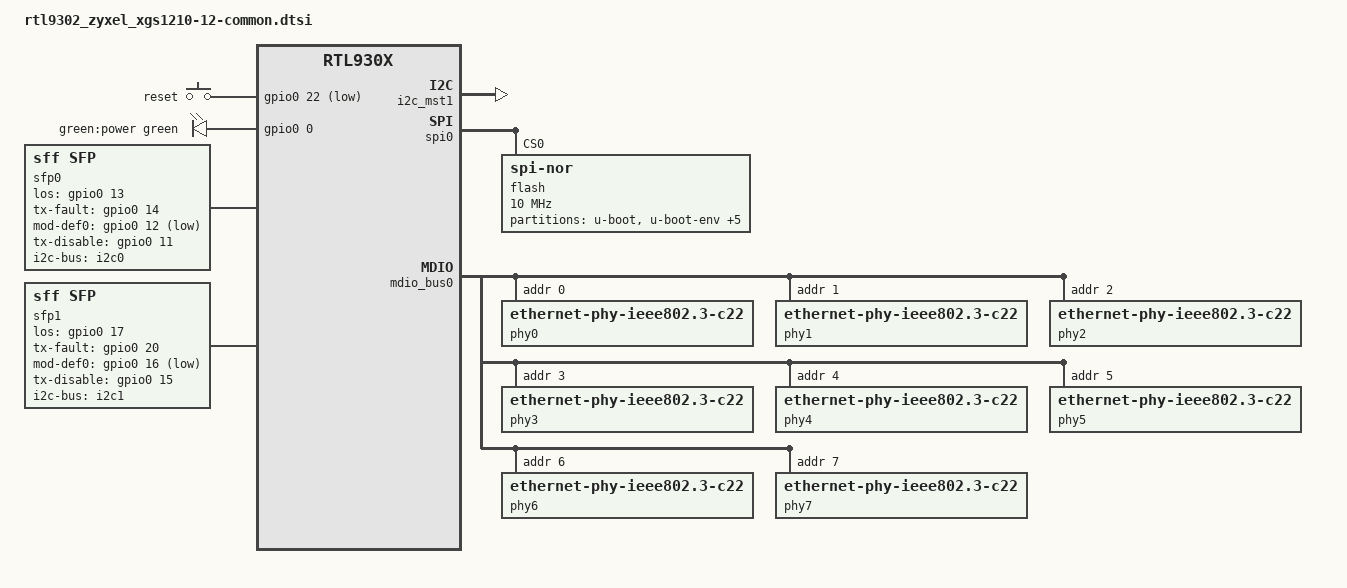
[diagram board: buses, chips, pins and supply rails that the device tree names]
// SPDX-License-Identifier: GPL-2.0-or-later
/dts-v1/;

#include "rtl930x.dtsi"

#include <dt-bindings/input/input.h>
#include <dt-bindings/gpio/gpio.h>
#include <dt-bindings/leds/common.h>
#include <dt-bindings/thermal/thermal.h>

/ {
	aliases {
		led-boot = &led_pwr_sys;
		led-failsafe = &led_pwr_sys;
		led-running = &led_pwr_sys;
		led-upgrade = &led_pwr_sys;
	};

	keys {
		compatible = "gpio-keys";

		mode {
			label = "reset";
			gpios = <&gpio0 22 GPIO_ACTIVE_LOW>;
			linux,code = <KEY_RESTART>;
		};
	};

	leds {
		compatible = "gpio-leds";

		pinctrl-names = "default";
		pinctrl-0 = <&pinmux_disable_sys_led>;

		led_pwr_sys: led-0 {
			label = "green:power";
			color = <LED_COLOR_ID_GREEN>;
			function = LED_FUNCTION_POWER;
			gpios = <&gpio0 0 GPIO_ACTIVE_HIGH>;
		};
	};

	sfp0: sfp-p11 {
		compatible = "sff,sfp";
		i2c-bus = <&i2c0>;
		los-gpio = <&gpio0 13 GPIO_ACTIVE_HIGH>;
		tx-fault-gpio = <&gpio0 14 GPIO_ACTIVE_HIGH>;
		mod-def0-gpio = <&gpio0 12 GPIO_ACTIVE_LOW>;
		tx-disable-gpio = <&gpio0 11 GPIO_ACTIVE_HIGH>;
	};

	sfp1: sfp-p12 {
		compatible = "sff,sfp";
		i2c-bus = <&i2c1>;
		los-gpio = <&gpio0 17 GPIO_ACTIVE_HIGH>;
		tx-fault-gpio = <&gpio0 20 GPIO_ACTIVE_HIGH>;
		mod-def0-gpio = <&gpio0 16 GPIO_ACTIVE_LOW>;
		tx-disable-gpio = <&gpio0 15 GPIO_ACTIVE_HIGH>;
	};

	led_set: led_set {
		compatible = "realtek,rtl9300-leds";
		active-low;

		// LED set 0:
		// Amber: 100M/10M
		// Yellow: 1G
		led_set0 = <0x0a20 0x0b80>;

		// LED set 1:
		// Blue: 2.5G
		// Green: 2.5G
		// Yellow: 1G
		// Amber: 100M/10M
		// (Blue + Green = Cyan)
		led_set1 = <0x0b80 0x0a20 0x0a08 0x0a08>;

		// LED set 2:
		// Blue: 10G/5G/2.5G
		// Yellow: 5G/2.5G/1G
		// (Blue + Yellow = Purple)
		led_set2 = <0x0a2a 0x0a0b>;
	};
};

&i2c_mst1 {
	status = "okay";

	/* i2c of the left SFP+ cage seen from the front; port 11 */
	i2c0: i2c@0 {
		reg = <0>;
	};

	/* i2c of the right SFP+ cage seen from the front; port 12 */
	i2c1: i2c@1 {
		reg = <1>;
	};
};

&spi0 {
	status = "okay";
	flash@0 {
		compatible = "jedec,spi-nor";
		reg = <0>;
		spi-max-frequency = <10000000>;

		partitions {
			compatible = "fixed-partitions";
			#address-cells = <1>;
			#size-cells = <1>;

			partition@0 {
				label = "u-boot";
				reg = <0x0 0xe0000>;
				read-only;
			};
			partition@e0000 {
				label = "u-boot-env";
				reg = <0xe0000 0x10000>;
			};
			partition@f0000 {
				label = "u-boot-env2";
				reg = <0xf0000 0x10000>;
				read-only;
			};
			partition@100000 {
				label = "jffs2-cfg";
				reg = <0x100000 0x100000>;
			};
			partition@200000 {
				label = "jffs2-log";
				reg = <0x200000 0x100000>;
			};
			partition@b300000 {
				label = "firmware";
				reg = <0x300000 0xce0000>;
				compatible = "openwrt,uimage", "denx,uimage";
				openwrt,ih-magic = <0x93001210>;
			};
			partition@fe0000 {
				label = "log";
				reg = <0xfe0000 0x20000>;
				read-only;
			};
		};
	};
};

&mdio_bus0 {
	/* External RTL8218D PHY */
	phy0: ethernet-phy@0 {
		reg = <0>;
		compatible = "ethernet-phy-ieee802.3-c22";
		rtl9300,smi-address = <0 0>;
		// Disabled because we do not know how to bring up again
		// reset-gpios = <&gpio0 21 GPIO_ACTIVE_LOW>;
	};
	phy1: ethernet-phy@1 {
		reg = <1>;
		compatible = "ethernet-phy-ieee802.3-c22";
		rtl9300,smi-address = <0 1>;
	};
	phy2: ethernet-phy@2 {
		reg = <2>;
		compatible = "ethernet-phy-ieee802.3-c22";
		rtl9300,smi-address = <0 2>;
	};
	phy3: ethernet-phy@3 {
		reg = <3>;
		compatible = "ethernet-phy-ieee802.3-c22";
		rtl9300,smi-address = <0 3>;
	};
	phy4: ethernet-phy@4 {
		reg = <4>;
		compatible = "ethernet-phy-ieee802.3-c22";
		rtl9300,smi-address = <0 4>;
	};
	phy5: ethernet-phy@5 {
		reg = <5>;
		compatible = "ethernet-phy-ieee802.3-c22";
		rtl9300,smi-address = <0 5>;
	};
	phy6: ethernet-phy@6 {
		reg = <6>;
		compatible = "ethernet-phy-ieee802.3-c22";
		rtl9300,smi-address = <0 6>;
	};
	phy7: ethernet-phy@7 {
		reg = <7>;
		compatible = "ethernet-phy-ieee802.3-c22";
		rtl9300,smi-address = <0 7>;
	};

	INTERNAL_PHY(26)
	INTERNAL_PHY(27)
};

&switch0 {
	ports {
		#address-cells = <1>;
		#size-cells = <0>;

		port@0 {
			reg = <0>;
			label = "lan1";
			pcs-handle = <&serdes2>;
			phy-handle = <&phy0>;
			phy-mode = "usxgmii";
			led-set = <0>;
		};
		port@1 {
			reg = <1>;
			label = "lan2";
			pcs-handle = <&serdes2>;
			phy-handle = <&phy1>;
			phy-mode = "usxgmii";
			led-set = <0>;
		};
		port@2 {
			reg = <2>;
			label = "lan3";
			pcs-handle = <&serdes2>;
			phy-handle = <&phy2>;
			phy-mode = "usxgmii";
			led-set = <0>;
		};
		port@3 {
			reg = <3>;
			label = "lan4";
			pcs-handle = <&serdes2>;
			phy-handle = <&phy3>;
			phy-mode = "usxgmii";
			led-set = <0>;
		};
		port@4 {
			reg = <4>;
			label = "lan5";
			pcs-handle = <&serdes2>;
			phy-handle = <&phy4>;
			phy-mode = "usxgmii";
			led-set = <0>;
		};
		port@5 {
			reg = <5>;
			label = "lan6";
			pcs-handle = <&serdes2>;
			phy-handle = <&phy5>;
			phy-mode = "usxgmii";
			led-set = <0>;
		};
		port@6 {
			reg = <6>;
			label = "lan7";
			pcs-handle = <&serdes2>;
			phy-handle = <&phy6>;
			phy-mode = "usxgmii";
			led-set = <0>;
		};
		port@7 {
			reg = <7>;
			label = "lan8";
			pcs-handle = <&serdes2>;
			phy-handle = <&phy7>;
			phy-mode = "usxgmii";
			led-set = <0>;
		};

		port@26 {
			reg = <26>;
			label = "lan11";
			pcs-handle = <&serdes8>;
			phy-handle = <&phy26>;
			phy-mode = "1000base-x";
			sfp = <&sfp0>;
			led-set = <2>;
			managed = "in-band-status";
		};

		port@27 {
			reg = <27>;
			label = "lan12";
			pcs-handle = <&serdes9>;
			phy-handle = <&phy27>;
			phy-mode = "1000base-x";
			sfp = <&sfp1>;
			led-set = <2>;
			managed = "in-band-status";
		};

		port@28 {
			ethernet = <&ethernet0>;
			reg = <28>;
			phy-mode = "internal";
			fixed-link {
				speed = <10000>;
				full-duplex;
			};
		};
	};
};
